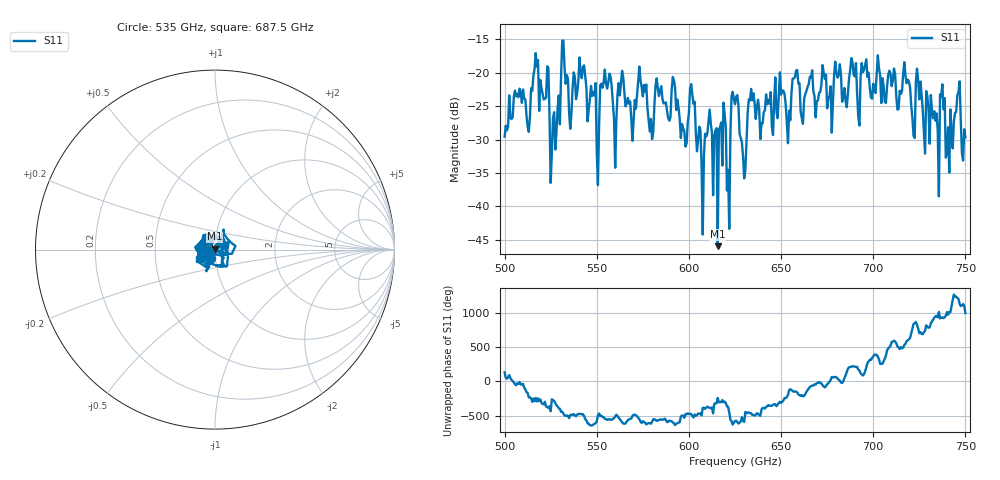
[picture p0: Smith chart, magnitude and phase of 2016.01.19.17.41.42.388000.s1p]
!Created with skrf (http://scikit-rf.org).
# GHz S RI R 50.0
!freq ReS11 ImS11
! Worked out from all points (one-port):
!   401 points, 500 GHz to 750 GHz, reference 50 ohm
!   lowest |S11| = -46.0 dB at 615.6 GHz (marker M1), VSWR 1.01, Z = 49.7 + j0.435 ohm
!   |S11| at or under -10 dB: start of sweep to end of sweep
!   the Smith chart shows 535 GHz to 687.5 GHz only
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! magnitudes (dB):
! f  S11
! 500 GHz  -29.6
! 513.1 GHz  -28.8
! 516.9 GHz  -17.1
! 526.2 GHz  -26.8
! 531.2 GHz  -15.2
! 535.6 GHz  -28.4
! 541.9 GHz  -20.8
! 550 GHz  -31.8
! 553.1 GHz  -22.2
! 560 GHz  -34.2
! 562.5 GHz  -23.4
! 579.4 GHz  -26.9
! 583.1 GHz  -22.3
! 593.8 GHz  -24.0
! 615.6 GHz  -46.0
! 618.8 GHz  -24.5
! 621.2 GHz  -34.5
! 625 GHz  -24.7
! 630 GHz  -35.8
! 633.8 GHz  -22.4
! 656.2 GHz  -20.9
! 687.5 GHz  -19.6
! 718.8 GHz  -21.0
! 734.4 GHz  -26.1
! 737.5 GHz  -21.7
! 740.6 GHz  -28.2
! 745.6 GHz  -23.4
! 750 GHz  -29.7
